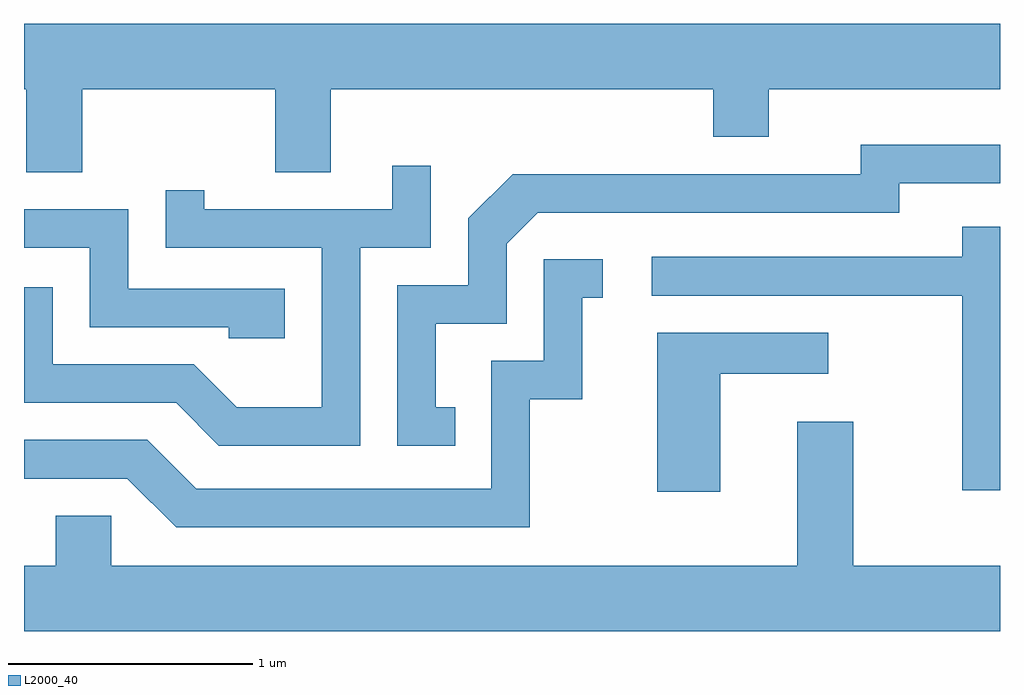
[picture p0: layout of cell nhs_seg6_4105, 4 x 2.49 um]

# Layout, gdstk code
import gdstk
lib = gdstk.Library(unit=1e-6, precision=1e-09)
def P(c, l, *ps):  # polygons
    for p in ps: c.add(gdstk.Polygon(p, *l))
L2000_40 = (2000, 40)

nhs_seg6_4105 = lib.new_cell('nhs_seg6_4105')
P(nhs_seg6_4105, L2000_40, [(309.849,1647.716),(310.641,1647.716),(310.641,1647.376),(310.869,1647.376),(310.869,1647.716),(312.436,1647.716),(312.436,1647.521),(312.664,1647.521),(312.664,1647.716),(313.611,1647.716),(313.611,1647.984),(309.611,1647.984),(309.611,1647.716),(309.621,1647.716),(309.621,1647.376),(309.849,1647.376)],
  [(311.378,1646.414),(311.299,1646.414),(311.299,1646.756),(311.589,1646.756),(311.589,1647.084),(311.717,1647.211),(313.199,1647.211),(313.199,1647.331),(313.611,1647.331),(313.611,1647.489),(313.041,1647.489),(313.041,1647.369),(311.614,1647.369),(311.431,1647.187),(311.431,1646.914),(311.141,1646.914),(311.141,1646.256),(311.378,1646.256)],
  [(310.989,1647.066),(311.279,1647.066),(311.279,1647.403),(311.121,1647.403),(311.121,1647.224),(310.349,1647.224),(310.349,1647.303),(310.191,1647.303),(310.191,1647.066),(310.831,1647.066),(310.831,1646.414),(310.482,1646.414),(310.307,1646.589),(309.729,1646.589),(309.729,1646.904),(309.611,1646.904),(309.611,1646.431),(310.234,1646.431),(310.409,1646.256),(310.989,1646.256)],
  [(310.679,1646.899),(310.039,1646.899),(310.039,1647.224),(309.611,1647.224),(309.611,1647.066),(309.881,1647.066),(309.881,1646.741),(310.451,1646.741),(310.451,1646.696),(310.679,1646.696)],
  [(313.611,1647.153),(313.456,1647.153),(313.456,1647.029),(312.183,1647.029),(312.183,1646.871),(313.456,1646.871),(313.456,1646.073),(313.611,1646.073)],
  [(311.684,1646.446),(311.899,1646.446),(311.899,1646.861),(311.983,1646.861),(311.983,1647.019),(311.741,1647.019),(311.741,1646.604),(311.526,1646.604),(311.526,1646.079),(310.317,1646.079),(310.117,1646.279),(309.611,1646.279),(309.611,1646.121),(310.034,1646.121),(310.234,1645.921),(311.684,1645.921)],
  [(312.464,1646.551),(312.908,1646.551),(312.908,1646.719),(312.206,1646.719),(312.206,1646.066),(312.464,1646.066)],
  [(313.611,1645.764),(313.009,1645.764),(313.009,1646.354),(312.781,1646.354),(312.781,1645.764),(309.969,1645.764),(309.969,1645.969),(309.741,1645.969),(309.741,1645.764),(309.611,1645.764),(309.611,1645.496),(313.611,1645.496)])

lib.write_gds('nhs_seg6_4105.gds')
